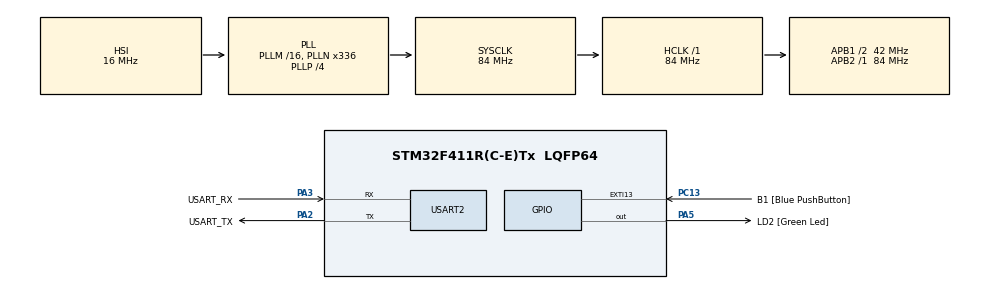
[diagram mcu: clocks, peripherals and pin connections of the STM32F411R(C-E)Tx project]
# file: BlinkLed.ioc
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Mcu.Family=STM32F4
Mcu.Name=STM32F411R(C-E)Tx
Mcu.Package=LQFP64
NVIC.PriorityGroup=NVIC_PRIORITYGROUP_0
PA13.GPIO_Label=TMS
PA13.Mode=Serial_Wire
PA13.Signal=SYS_JTMS-SWDIO
PA14.GPIO_Label=TCK
PA14.Mode=Serial_Wire
PA14.Signal=SYS_JTCK-SWCLK
PA2.GPIO_Label=USART_TX
PA2.Mode=Asynchronous
PA2.Signal=USART2_TX
PA3.GPIO_Label=USART_RX
PA3.Mode=Asynchronous
PA3.Signal=USART2_RX
PA5.GPIO_Label=LD2 [Green Led]
PA5.Signal=GPIO_Output
PB3.GPIO_Label=SWO
PB3.Signal=SYS_JTDO-SWO
PC13-ANTI_TAMP.GPIO_Label=B1 [Blue PushButton]
PC13-ANTI_TAMP.GPIO_ModeDefaultEXTI=GPIO_MODE_IT_FALLING
PC13-ANTI_TAMP.Signal=GPXTI13
PC14-OSC32_IN.Mode=LSE-External-Oscillator
PC14-OSC32_IN.Signal=RCC_OSC32_IN
PC15-OSC32_OUT.Mode=LSE-External-Oscillator
PC15-OSC32_OUT.Signal=RCC_OSC32_OUT
PH0\ -\ OSC_IN.Mode=HSE-External-Clock-Source
PH0\ -\ OSC_IN.Signal=RCC_OSC_IN
PH1\ -\ OSC_OUT.Mode=HSE-External-Clock-Source
PH1\ -\ OSC_OUT.Signal=RCC_OSC_OUT
ProjectManager.HeapSize=0x200
ProjectManager.StackSize=0x400
ProjectManager.TargetToolchain=STM32CubeIDE
RCC.48MHZClocksFreq_Value=84000000
RCC.AHBFreq_Value=84000000
RCC.APB1CLKDivider=RCC_HCLK_DIV2
RCC.APB1Freq_Value=42000000
RCC.APB1TimFreq_Value=84000000
RCC.APB2Freq_Value=84000000
RCC.APB2TimFreq_Value=84000000
RCC.CortexFreq_Value=84000000
RCC.FLatency-AdvancedSettings=FLASH_LATENCY_2
RCC.HCLKFreq_Value=84000000
RCC.HSE_VALUE=8000000
RCC.HSI_VALUE=16000000
RCC.PLLN=336
RCC.PLLP=RCC_PLLP_DIV4
RCC.SYSCLKFreq_VALUE=84000000
RCC.SYSCLKSource=RCC_SYSCLKSOURCE_PLLCLK
RCC.VCOOutputFreq_Value=336000000
USART2.VirtualMode=VM_ASYNC
board=NUCLEO-F411RE

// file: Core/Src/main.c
/* USER CODE BEGIN Header */
/**
  ******************************************************************************
  * @file           : main.c
  * @brief          : Main program body
  ******************************************************************************
  * @attention
  *
  * Copyright (c) 2023 STMicroelectronics.
  * All rights reserved.
  *
  * This software is licensed under terms that can be found in the LICENSE file
  * in the root directory of this software component.
  * If no LICENSE file comes with this software, it is provided AS-IS.
  *
  ******************************************************************************
  */
/* USER CODE END Header */
#include "main.h"

UART_HandleTypeDef huart2;

/* USER CODE BEGIN PV */
void numpad();
/* USER CODE END PV */

void SystemClock_Config(void);
static void MX_GPIO_Init(void);
static void MX_USART2_UART_Init(void);

int main(void)
{

  /* MCU Configuration--------------------------------------------------------*/

  /* Reset of all peripherals, Initializes the Flash interface and the Systick. */
  HAL_Init();

  /* Configure the system clock */
  SystemClock_Config();

  /* Initialize all configured peripherals */
  MX_GPIO_Init();
  MX_USART2_UART_Init();

  /* Infinite loop */
  while (1)
  {

    /* USER CODE BEGIN 3 */
	  HAL_GPIO_WritePin(GPIOA, GPIO_PIN_5, GPIO_PIN_SET);
	  HAL_Delay(20);
	  HAL_GPIO_WritePin(GPIOA, GPIO_PIN_5, GPIO_PIN_RESET);
	  HAL_Delay(20);
	  numpad();
  }
  /* USER CODE END 3 */
}

void SystemClock_Config(void)
{
  RCC_OscInitTypeDef RCC_OscInitStruct = {0};
  RCC_ClkInitTypeDef RCC_ClkInitStruct = {0};

  /** Configure the main internal regulator output voltage
  */
  __HAL_RCC_PWR_CLK_ENABLE();
  __HAL_PWR_VOLTAGESCALING_CONFIG(PWR_REGULATOR_VOLTAGE_SCALE1);

  /** Initializes the RCC Oscillators according to the specified parameters
  * in the RCC_OscInitTypeDef structure.
  */
  RCC_OscInitStruct.OscillatorType = RCC_OSCILLATORTYPE_HSI;
  RCC_OscInitStruct.HSIState = RCC_HSI_ON;
  RCC_OscInitStruct.HSICalibrationValue = RCC_HSICALIBRATION_DEFAULT;
  RCC_OscInitStruct.PLL.PLLState = RCC_PLL_ON;
  RCC_OscInitStruct.PLL.PLLSource = RCC_PLLSOURCE_HSI;
  RCC_OscInitStruct.PLL.PLLM = 16;
  RCC_OscInitStruct.PLL.PLLN = 336;
  RCC_OscInitStruct.PLL.PLLP = RCC_PLLP_DIV4;
  RCC_OscInitStruct.PLL.PLLQ = 4;
  if (HAL_RCC_OscConfig(&RCC_OscInitStruct) != HAL_OK)
  {
    Error_Handler();
  }

  /** Initializes the CPU, AHB and APB buses clocks
  */
  RCC_ClkInitStruct.ClockType = RCC_CLOCKTYPE_HCLK|RCC_CLOCKTYPE_SYSCLK
                              |RCC_CLOCKTYPE_PCLK1|RCC_CLOCKTYPE_PCLK2;
  RCC_ClkInitStruct.SYSCLKSource = RCC_SYSCLKSOURCE_PLLCLK;
  RCC_ClkInitStruct.AHBCLKDivider = RCC_SYSCLK_DIV1;
  RCC_ClkInitStruct.APB1CLKDivider = RCC_HCLK_DIV2;
  RCC_ClkInitStruct.APB2CLKDivider = RCC_HCLK_DIV1;

  if (HAL_RCC_ClockConfig(&RCC_ClkInitStruct, FLASH_LATENCY_2) != HAL_OK)
  {
    Error_Handler();
  }
}

static void MX_USART2_UART_Init(void)
{

  huart2.Instance = USART2;
  huart2.Init.BaudRate = 115200;
  huart2.Init.WordLength = UART_WORDLENGTH_8B;
  huart2.Init.StopBits = UART_STOPBITS_1;
  huart2.Init.Parity = UART_PARITY_NONE;
  huart2.Init.Mode = UART_MODE_TX_RX;
  huart2.Init.HwFlowCtl = UART_HWCONTROL_NONE;
  huart2.Init.OverSampling = UART_OVERSAMPLING_16;
  if (HAL_UART_Init(&huart2) != HAL_OK)
  {
    Error_Handler();
  }

}

static void MX_GPIO_Init(void)
{
  GPIO_InitTypeDef GPIO_InitStruct = {0};

  /* GPIO Ports Clock Enable */
  __HAL_RCC_GPIOC_CLK_ENABLE();
  __HAL_RCC_GPIOH_CLK_ENABLE();
  __HAL_RCC_GPIOA_CLK_ENABLE();
  __HAL_RCC_GPIOB_CLK_ENABLE();

  /*Configure GPIO pin Output Level */
  HAL_GPIO_WritePin(LD2_GPIO_Port, LD2_Pin, GPIO_PIN_RESET);

  /*Configure GPIO pin : B1_Pin */
  GPIO_InitStruct.Pin = B1_Pin;
  GPIO_InitStruct.Mode = GPIO_MODE_IT_FALLING;
  GPIO_InitStruct.Pull = GPIO_NOPULL;
  HAL_GPIO_Init(B1_GPIO_Port, &GPIO_InitStruct);

  /*Configure GPIO pin : LD2_Pin */
  GPIO_InitStruct.Pin = LD2_Pin;
  GPIO_InitStruct.Mode = GPIO_MODE_OUTPUT_PP;
  GPIO_InitStruct.Pull = GPIO_NOPULL;
  GPIO_InitStruct.Speed = GPIO_SPEED_FREQ_LOW;
  HAL_GPIO_Init(LD2_GPIO_Port, &GPIO_InitStruct);

}

/* USER CODE BEGIN 4 */
void numpad()
{
	register int arm = 0;
	register int X = 0;
	switch(arm)
	{
	case 0:
		if (X == 2)
		{
			arm = 1;
		}
		else arm = 0;
		break;
	}
}
/* USER CODE END 4 */

void Error_Handler(void)
{
  __disable_irq();
  while (1)
  {
  }
}
